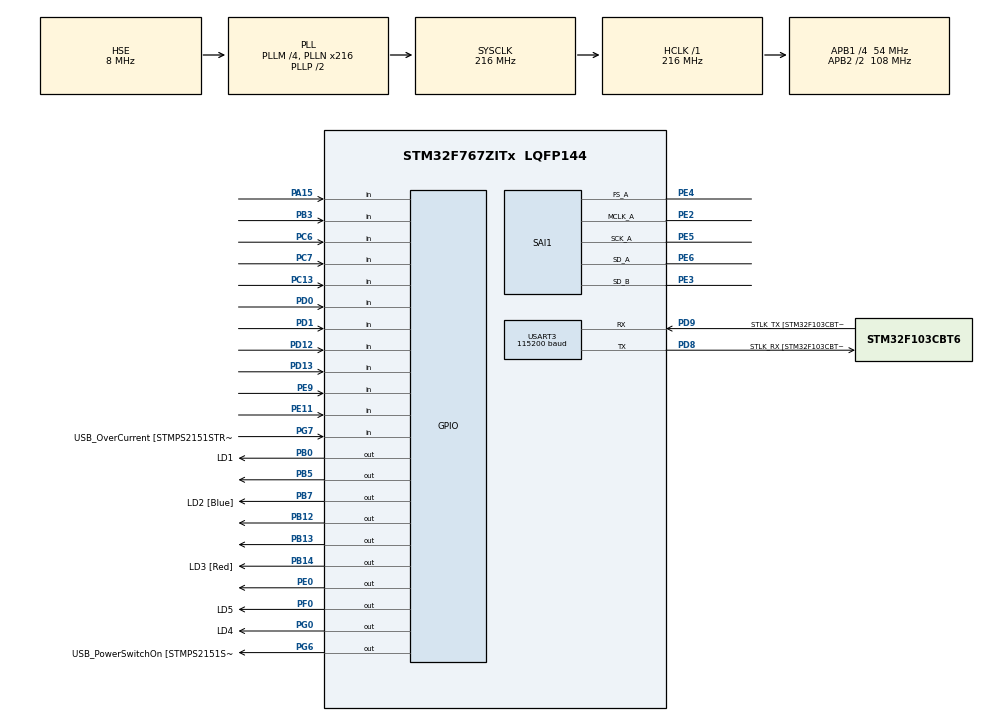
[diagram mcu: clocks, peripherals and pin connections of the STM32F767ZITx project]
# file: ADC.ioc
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Dma.Request0=SAI1_A
Dma.Request1=SAI1_B
Dma.SAI1_A.0.Direction=DMA_PERIPH_TO_MEMORY
Dma.SAI1_A.0.FIFOMode=DMA_FIFOMODE_DISABLE
Dma.SAI1_A.0.Instance=DMA2_Stream1
Dma.SAI1_A.0.MemDataAlignment=DMA_MDATAALIGN_WORD
Dma.SAI1_A.0.MemInc=DMA_MINC_ENABLE
Dma.SAI1_A.0.Mode=DMA_CIRCULAR
Dma.SAI1_A.0.PeriphDataAlignment=DMA_PDATAALIGN_WORD
Dma.SAI1_A.0.PeriphInc=DMA_PINC_DISABLE
Dma.SAI1_A.0.Priority=DMA_PRIORITY_VERY_HIGH
Dma.SAI1_B.1.Direction=DMA_MEMORY_TO_PERIPH
Dma.SAI1_B.1.FIFOMode=DMA_FIFOMODE_DISABLE
Dma.SAI1_B.1.Instance=DMA2_Stream0
Dma.SAI1_B.1.MemDataAlignment=DMA_MDATAALIGN_WORD
Dma.SAI1_B.1.MemInc=DMA_MINC_ENABLE
Dma.SAI1_B.1.Mode=DMA_CIRCULAR
Dma.SAI1_B.1.PeriphDataAlignment=DMA_PDATAALIGN_WORD
Dma.SAI1_B.1.PeriphInc=DMA_PINC_DISABLE
Dma.SAI1_B.1.Priority=DMA_PRIORITY_VERY_HIGH
Mcu.Family=STM32F7
Mcu.Name=STM32F767ZITx
Mcu.Package=LQFP144
NVIC.DMA2_Stream0_IRQn=true\:0\:0\:false\:false\:true\:false\:true\:true
NVIC.DMA2_Stream1_IRQn=true\:0\:0\:false\:false\:true\:false\:true\:true
NVIC.PriorityGroup=NVIC_PRIORITYGROUP_4
NVIC.RCC_IRQn=true\:0\:0\:false\:false\:true\:true\:false\:true
NVIC.TIM6_DAC_IRQn=true\:1\:0\:true\:false\:true\:true\:true\:true
NVIC.USART3_IRQn=true\:0\:0\:false\:false\:true\:true\:true\:true
PA11.GPIO_Label=USB_DM
PA11.Signal=USB_OTG_FS_DM
PA12.GPIO_Label=USB_DP
PA12.Signal=USB_OTG_FS_DP
PA13.GPIO_Label=TMS
PA13.Mode=Serial_Wire
PA13.Signal=SYS_JTMS-SWDIO
PA14.GPIO_Label=TCK
PA14.Mode=Serial_Wire
PA14.Signal=SYS_JTCK-SWCLK
PA15.GPIO_PuPd=GPIO_PULLUP
PA15.Signal=GPIO_Input
PA8.GPIO_Label=USB_SOF [TP1]
PA8.Signal=USB_OTG_FS_SOF
PA9.GPIO_Label=USB_VBUS
PA9.Signal=USB_OTG_FS_VBUS
PB0.GPIO_Label=LD1
PB0.Signal=GPIO_Output
PB12.Signal=GPIO_Output
PB13.Signal=GPIO_Output
PB14.GPIO_Label=LD3 [Red]
PB14.Signal=GPIO_Output
PB3.GPIO_PuPd=GPIO_NOPULL
PB3.Signal=GPIO_Input
PB5.Signal=GPIO_Output
PB7.GPIO_FM7=SYSCFG_PMC_I2C_PB7_FMP
PB7.GPIO_Label=LD2 [Blue]
PB7.Signal=GPIO_Output
PC13.Signal=GPIO_Input
PC14/OSC32_IN.Mode=LSE-External-Oscillator
PC14/OSC32_IN.Signal=RCC_OSC32_IN
PC15/OSC32_OUT.Mode=LSE-External-Oscillator
PC15/OSC32_OUT.Signal=RCC_OSC32_OUT
PC6.GPIO_PuPd=GPIO_PULLUP
PC6.Signal=GPIO_Input
PC7.GPIO_PuPd=GPIO_NOPULL
PC7.Signal=GPIO_Input
PD0.Signal=GPIO_Input
PD1.Signal=GPIO_Input
PD12.GPIO_PuPd=GPIO_PULLUP
PD12.Signal=GPIO_Input
PD13.GPIO_PuPd=GPIO_PULLUP
PD13.Signal=GPIO_Input
PD8.GPIO_Label=STLK_RX [STM32F103CBT6_PA3]
PD8.Mode=Asynchronous
PD8.Signal=USART3_TX
PD9.GPIO_Label=STLK_TX [STM32F103CBT6_PA2]
PD9.Mode=Asynchronous
PD9.Signal=USART3_RX
PE0.Signal=GPIO_Output
PE11.GPIO_PuPd=GPIO_PULLUP
PE11.Signal=GPIO_Input
PE2.Mode=SAI_A_MasterWithClock
PE2.Signal=SAI1_MCLK_A
PE3.Mode=SAI_B_SyncSlave
PE3.Signal=SAI1_SD_B
PE4.Mode=SAI_A_MasterWithClock
PE4.Signal=SAI1_FS_A
PE5.Mode=SAI_A_MasterWithClock
PE5.Signal=SAI1_SCK_A
PE6.Mode=SAI_A_MasterWithClock
PE6.Signal=SAI1_SD_A
PE9.GPIO_PuPd=GPIO_PULLUP
PE9.Signal=GPIO_Input
PF0.GPIO_Label=LD5
PF0.Signal=GPIO_Output
PG0.GPIO_Label=LD4
PG0.Signal=GPIO_Output
PG6.GPIO_Label=USB_PowerSwitchOn [STMPS2151STR_EN]
PG6.Signal=GPIO_Output
PG7.GPIO_Label=USB_OverCurrent [STMPS2151STR_FAULT]
PG7.Signal=GPIO_Input
PH0/OSC_IN.GPIO_Label=MCO [STM32F103CBT6_PA8]
PH0/OSC_IN.Mode=HSE-External-Clock-Source
PH0/OSC_IN.Signal=RCC_OSC_IN
PH1/OSC_OUT.Mode=HSE-External-Clock-Source
PH1/OSC_OUT.Signal=RCC_OSC_OUT
ProjectManager.HeapSize=0x200
ProjectManager.StackSize=0x400
ProjectManager.TargetToolchain=STM32CubeIDE
RCC.48MHZClocksFreq_Value=24000000
RCC.AHBFreq_Value=216000000
RCC.APB1CLKDivider=RCC_HCLK_DIV4
RCC.APB1Freq_Value=54000000
RCC.APB1TimFreq_Value=108000000
RCC.APB2CLKDivider=RCC_HCLK_DIV2
RCC.APB2Freq_Value=108000000
RCC.APB2TimFreq_Value=216000000
RCC.CortexFreq_Value=216000000
RCC.HCLKFreq_Value=216000000
RCC.HSE_VALUE=8000000
RCC.HSI_VALUE=16000000
RCC.PLLI2SN=96
RCC.PLLM=4
RCC.PLLMUL=RCC_PLL_MUL9
RCC.PLLN=216
RCC.PLLQ=9
RCC.PLLSAIQ=6
RCC.PLLSourceVirtual=RCC_PLLSOURCE_HSE
RCC.PRESCALERUSB=RCC_USBCLKSOURCE_PLL_DIV1_5
RCC.SAI1CLockSelection=RCC_SAI1CLKSOURCE_PLLI2S
RCC.SYSCLKFreq_VALUE=216000000
RCC.SYSCLKSource=RCC_SYSCLKSOURCE_PLLCLK
RCC.SYSCLKSourceVirtual=RCC_SYSCLKSOURCE_PLLCLK
RCC.USBFreq_Value=48000000
RCC.VCOOutputFreq_Value=432000000
SAI1.AudioFrequency-SAI_A_MasterWithClock=SAI_AUDIO_FREQUENCY_48K
SAI1.AudioMode-SAI_A_MasterWithClock=SAI_MODEMASTER_RX
SAI1.AudioMode-SAI_B_SyncSlave=SAI_MODESLAVE_TX
SAI1.BasicDataSize-SAI_A_MasterWithClock=SAI_PROTOCOL_DATASIZE_24BIT
SAI1.BasicDataSize-SAI_B_SyncSlave=SAI_PROTOCOL_DATASIZE_24BIT
SAI1.ErrorAudioFreq-SAI_A_MasterWithClock=-2.34 %
SAI1.InitProtocol-SAI_A_MasterWithClock=Enable
SAI1.InitProtocol-SAI_B_SyncSlave=Enable
SAI1.Instance-SAI_A_MasterWithClock=SAI$Index_Block_A
SAI1.Instance-SAI_B_SyncSlave=SAI$Index_Block_B
SAI1.MClockEnable-SAI_A_MasterWithClock=SAI_MASTERCLOCK_ENABLE
SAI1.RealAudioFreq-SAI_A_MasterWithClock=46.875 KHz
SAI1.VirtualMode-SAI_A_MasterWithClock=VM_MASTER
SAI1.VirtualMode-SAI_B_SyncSlave=VM_SLAVE
SAI1.VirtualProtocol-SAI_A_BASIC=VM_BASIC_PROTOCOL
SAI1.VirtualProtocol-SAI_B_BASIC=VM_BASIC_PROTOCOL
TIM6.Period=10-1
TIM6.Prescaler=10800 - 1
TIM8.Period=45-1
TIM8.Prescaler=100-1
TIM8.TIM_MasterOutputTrigger=TIM_TRGO_UPDATE
USART3.BaudRate=115200
USART3.VirtualMode-Asynchronous=VM_ASYNC
VP_SAI1_VP_$IpInstance_SAIA_SAI_BASIC.Mode=SAI_A_BASIC
VP_SAI1_VP_$IpInstance_SAIB_SAI_BASIC.Mode=SAI_B_BASIC
VP_TIM6_VS_ClockSourceINT.Mode=Enable_Timer
VP_TIM8_VS_ClockSourceINT.Mode=Internal
board=NUCLEO-F767ZI

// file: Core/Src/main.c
/* USER CODE BEGIN Header */
/**
  ******************************************************************************
  * @file           : main.c
  * @brief          : Main program body
  ******************************************************************************
  * @attention
  *
  * Copyright (c) 2024 STMicroelectronics.
  * All rights reserved.
  *
  * This software is licensed under terms that can be found in the LICENSE file
  * in the root directory of this software component.
  * If no LICENSE file comes with this software, it is provided AS-IS.
  *
  ******************************************************************************
  */
/* USER CODE END Header */
#include "main.h"

/* USER CODE BEGIN Includes */
#include "stm32f767xx.h"
#include "stm32f7xx.h"
#include "stm32f7xx_hal_def.h"
#include <stdio.h>
#include <math.h>
#include <stdbool.h>
/* USER CODE END Includes */

/* USER CODE BEGIN PTD */
typedef struct {
 	uint32_t cnt_value;
 	uint32_t cnt_max;
 	uint32_t cnt_min;
 	uint32_t cnt_mid;
 	uint32_t cnt_store;
 	uint8_t state;
 	uint8_t prev_state;
 } EncoderConfig;

/* USER CODE END PTD */

/* USER CODE BEGIN PD */
#define PI 3.14159
#define NUM_ENCODERS 4
#define NUM_FILTERS 4
#define BUFFER_SIZE 4
#define FREQ_SAMPLE 46875

/* USER CODE END PD */

SAI_HandleTypeDef hsai_BlockA1;
SAI_HandleTypeDef hsai_BlockB1;
DMA_HandleTypeDef hdma_sai1_a;
DMA_HandleTypeDef hdma_sai1_b;

TIM_HandleTypeDef htim6;
TIM_HandleTypeDef htim8;

UART_HandleTypeDef huart3;

/* USER CODE BEGIN PV */

 int i = 0;
 char message[16] = {'\0'};
 int temp = 0;
 int selected_filter = 0;

 static int last_state_filter = 1;
 static int last_state_toggle = 1;
 static volatile int filter_count = 0;       // Tracks selected filter (1 to 4)
 static bool filter_toggles[NUM_FILTERS] = {0,0,0,0};

 EncoderConfig encoders[NUM_ENCODERS] = {
 		{ 0, 10000, 0, 5000, 7},
 		{ 0, 10000, 0, 5000, 7},
 		{ 0, 10000, 0, 5000, 7},
 		{ 0, 10000, 0, 5000, 7}
 };

//buffers for adc input and output
//static int y[3] = {0, 0, 0};

uint32_t adcData[BUFFER_SIZE] = {0};
uint32_t dacData[BUFFER_SIZE] = {0};

static volatile uint32_t *inBufPtr;
static volatile uint32_t *outBufPtr = &dacData[0];

static uint32_t leftIn0, rightIn0 = 0;

static int16_t lSample = 0;
static int16_t rSample = 0;

float Fs = 46875.0;

float volatile filter_f0[NUM_FILTERS] = {2000, 1000, 14000, 60};  // LPF, Notch, Peak, HPF
float volatile filter_Q[NUM_FILTERS]  = {0.5, 5, 5, 0.5};  // Q values for all

/*
// High Cut / Low Pass Filter Settings
int16_t LPF_f0 = 20000;                         // Center / Corner Frequency
float LPF_Q = 1;                          	// Quality Factor

// Low Cut / High Pass Filter Settings
int16_t HPF_f0 = 20;                            // Center / Corner Frequency
float HPF_Q = 1;                         		// Quality Factor

// Notch Filter Settings
int16_t NCH1_f0 = 14000;                          // Center / Corner Frequency
float NCH1_Q = 10;                        		// Quality Factor

// Peaking Filter
int16_t PKG_f0 = 60;                           // Center / Corner Frequency
float PKG_Q = 10;                         		// Quality Factor
float PKG_GAIN = 1;								// Attenuation
*/

float wet = 0.0;
float delay = 1.0;

static int16_t x[3] = {0, 0, 0};
static int16_t  outputBuf[3] = {0, 0, 0};

//buffers for filters
static int16_t h1[3] = {0, 0, 0};
static int16_t h2[3] = {0, 0, 0};
static int16_t h3[3] = {0, 0, 0};
static int16_t z[3] = {0, 0, 0};

// Delay Indices for Comb Filters
static int16_t C_index_1 = 1;
static int16_t C_index_2 = 1;
static int16_t C_index_3 = 1;
static int16_t C_index_4 = 1;

// Delay Indices for All-pass Filters
static int16_t A_index_1 = 1;
static int16_t A_index_2 = 1;
static int16_t A_index_3 = 1;

// Reverb Parameters

float Cgain_1 = 0.805, Cgain_2 = 0.827, Cgain_3 = 0.783, Cgain_4 = 0.764; // Reverb gains

int16_t Csum = 0, Aout_1 = 0, Aout_2 = 0, Aout_3 = 0;  // Intermediate reverb variables
int16_t Cout_1 = 0, Cout_2 = 0, Cout_3 = 0, Cout_4 = 0;

int16_t Clim_1 = 0, Clim_2 = 0, Clim_3 = 0, Clim_4 = 0;
int16_t Alim_1 = 0, Alim_2 = 0, Alim_3 = 0;

int16_t Adelay_1 = 220;
float Again_1 = 0.7;
int16_t Adelay_2 = 74;
float Again_2 = 0.7;
int16_t Adelay_3 = 21;
float Again_3 = 0.7;
int16_t Cdelay_1 = 1590;
int16_t  Cdelay_2 = 1372;
int16_t  Cdelay_3 = 1782;
int16_t Cdelay_4 = 1980;

int Cgain_sum = 0.25;

// Comb Filter Buffers
static int16_t Cbuff_1[1590] = {0};
static int16_t Cbuff_2[1372] = {0};
static int16_t Cbuff_3[1782] = {0};
static int16_t Cbuff_4[1980] = {0};

// All-pass Filter Buffers
static int16_t Abuff_1[220] = {0};
static int16_t Abuff_2[74] = {0};
static int16_t Abuff_3[21] = {0};

static float PKG_dB_gain = 1.0;                       // Gain in dB

// LPF Variables
float LPF_w0 = 0, LPF_cos_w0 = 0, LPF_sin_w0 = 0, LPF_alpha = 0;
float LPF_b0 = 0, LPF_b1 = 0, LPF_b2 = 0, LPF_a0 = 0, LPF_a1 = 0, LPF_a2 = 0;
float LPF_norm_b0 = 0, LPF_norm_b1 = 0, LPF_norm_b2 = 0, LPF_norm_a1 = 0, LPF_norm_a2 = 0;

// HPF Variables
float HPF_w0 = 0, HPF_cos_w0 = 0, HPF_sin_w0 = 0, HPF_alpha = 0;
float HPF_b0 = 0, HPF_b1 = 0, HPF_b2 = 0, HPF_a0 = 0, HPF_a1 = 0, HPF_a2 = 0;
float HPF_norm_b0 = 0, HPF_norm_b1 = 0, HPF_norm_b2 = 0, HPF_norm_a1 = 0, HPF_norm_a2 = 0;

// Notch Variables
float NCH1_w0 = 0, NCH1_cos_w0 = 0, NCH1_sin_w0 = 0, NCH1_alpha = 0;
float NCH1_b0 = 0, NCH1_b1 = 0, NCH1_b2 = 0, NCH1_a0 = 0, NCH1_a1 = 0, NCH1_a2 = 0;
float NCH1_norm_b0 = 0, NCH1_norm_b1 = 0, NCH1_norm_b2 = 0, NCH1_norm_a1 = 0, NCH1_norm_a2 = 0;

// Peaking EQ Variables
float PKG_w0 = 0, PKG_A = 0, PKG_cos_w0 = 0, PKG_sin_w0 = 0, PKG_alpha = 0;
float PKG_b0 = 0, PKG_b1 = 0, PKG_b2 = 0, PKG_a0 = 0, PKG_a1 = 0, PKG_a2 = 0;
float PKG_norm_b0 = 0, PKG_norm_b1 = 0, PKG_norm_b2 = 0, PKG_norm_a1 = 0, PKG_norm_a2 = 0;

void LPF() {
		//HAL_GPIO_WritePin(GPIOB, LD1_Pin, GPIO_PIN_SET);
		//HAL_GPIO_WritePin(GPIOG, LD4_Pin, GPIO_PIN_SET);
	 	//LPF_w0 = 2 * PI * (LPF_f0 / Fs);    	// Cutoff Freq in radians
	    LPF_w0 = 2 * PI * (filter_f0[0] / Fs);    	// Cutoff Freq in radians
	    LPF_cos_w0 = cos(LPF_w0);           	// cosine omega
	    LPF_sin_w0 = sin(LPF_w0);           	// sine omega
	    LPF_alpha = LPF_sin_w0 / (2 * filter_Q[0]);
	   // LPF_alpha = LPF_sin_w0 / (2 * LPF_Q);

	    LPF_b0 = (1 - LPF_cos_w0) / 2;
	    LPF_b1 = (1 - LPF_cos_w0);
	    LPF_b2 = (1 - LPF_cos_w0) / 2;
	    LPF_a0 = 1 + LPF_alpha;
	    LPF_a1 = -2 * LPF_cos_w0;
	    LPF_a2 = 1 - LPF_alpha;

	    LPF_norm_b0 = LPF_b0 / LPF_a0;
	    LPF_norm_b1 = LPF_b1 / LPF_a0;
	    LPF_norm_b2 = LPF_b2 / LPF_a0;
	    LPF_norm_a1 = LPF_a1 / LPF_a0;
	    LPF_norm_a2 = LPF_a2 / LPF_a0;
	   // HAL_GPIO_WritePin(GPIOG, LD4_Pin, GPIO_PIN_RESET);
	   // HAL_GPIO_WritePin(GPIOB, LD1_Pin, GPIO_PIN_RESET);
}

void Notch() {
		//HAL_GPIO_WritePin(GPIOB, LD1_Pin, GPIO_PIN_SET);
	 	//NCH1_w0 = 2 * PI * (NCH1_f0 / Fs);
	    NCH1_w0 = 2 * PI * (filter_f0[1] / Fs);      // Center Freq in radians
	    NCH1_cos_w0 = cos(NCH1_w0);             // cosine omega
	    NCH1_sin_w0 = sin(NCH1_w0);             // sine omega
	    NCH1_alpha = NCH1_sin_w0 / (2 * filter_Q[1]);
	    //NCH1_alpha = NCH1_sin_w0 / (2 * NCH1_Q);

	    NCH1_b0 = 1;
	    NCH1_b1 = -2 * NCH1_cos_w0;
	    NCH1_b2 = 1;
	    NCH1_a0 = 1 + NCH1_alpha;
	    NCH1_a1 = -2 * NCH1_cos_w0;
	    NCH1_a2 = 1 - NCH1_alpha;

	    NCH1_norm_b0 = NCH1_b0 / NCH1_a0;
	    NCH1_norm_b1 = NCH1_b1 / NCH1_a0;
	    NCH1_norm_b2 = NCH1_b2 / NCH1_a0;
	    NCH1_norm_a1 = NCH1_a1 / NCH1_a0;
	    NCH1_norm_a2 = NCH1_a2 / NCH1_a0;
	   // HAL_GPIO_WritePin(GPIOB, LD1_Pin, GPIO_PIN_RESET);
}

void PEAK() {
	//	HAL_GPIO_WritePin(GPIOA, GPIO_PIN_15, GPIO_PIN_SET);
	 	//PKG_w0 = 2 * PI * (PKG_f0 / Fs);
	    PKG_w0 = 2 * PI * (filter_f0[2] / Fs);    	// Center Freq in radians
	    PKG_A = PKG_dB_gain;      	// Linear Gain from dB
	    PKG_cos_w0 = cos(PKG_w0);      			// cosine omega
	    PKG_sin_w0 = sin(PKG_w0);      			// sine omega
	    PKG_alpha = PKG_sin_w0 / (2 * filter_Q[2]);
	    //PKG_alpha = PKG_sin_w0 / (2 * PKG_Q);

	    PKG_b0 = 1 + PKG_alpha * PKG_A;
	    PKG_b1 = -2 * PKG_cos_w0;
	    PKG_b2 = 1 - PKG_alpha * PKG_A;
	    PKG_a0 = 1 + ( PKG_alpha / PKG_A );
	    PKG_a1 = -2 * PKG_cos_w0;
	    PKG_a2 = 1 - ( PKG_alpha / PKG_A );

	    PKG_norm_b0 = PKG_b0 / PKG_a0;
	    PKG_norm_b1 = PKG_b1 / PKG_a0;
	    PKG_norm_b2 = PKG_b2 / PKG_a0;
	    PKG_norm_a1 = PKG_a1 / PKG_a0;
	    PKG_norm_a2 = PKG_a2 / PKG_a0;
	   // HAL_GPIO_WritePin(GPIOA, GPIO_PIN_15, GPIO_PIN_RESET);
}

void HPF() {
		//HAL_GPIO_WritePin(LD5_GPIO_Port, LD5_Pin, GPIO_PIN_SET);
	 	//HPF_w0 = 2 * PI * (HPF_f0 / Fs);
	    HPF_w0 = 2 * PI * (filter_f0[3] / Fs);        // Cutoff Freq in radians
	    HPF_cos_w0 = cos(HPF_w0);               // cosine omega
	    HPF_sin_w0 = sin(HPF_w0);               // sine omega
	    HPF_alpha = HPF_sin_w0 / (2 * filter_Q[3]);
	    //HPF_alpha = HPF_sin_w0 / (2 * HPF_Q);

	    HPF_b0 = (1 + HPF_cos_w0) / 2;
	    HPF_b1 = -(1 + HPF_cos_w0);
	    HPF_b2 = (1 + HPF_cos_w0) / 2;
	    HPF_a0 = 1 + HPF_alpha;
	    HPF_a1 = -2 * HPF_cos_w0;
	    HPF_a2 = 1 - HPF_alpha;

	    HPF_norm_b0 = HPF_b0 / HPF_a0;
	    HPF_norm_b1 = HPF_b1 / HPF_a0;
	    HPF_norm_b2 = HPF_b2 / HPF_a0;
	    HPF_norm_a1 = HPF_a1 / HPF_a0;
	    HPF_norm_a2 = HPF_a2 / HPF_a0;
	  //  HAL_GPIO_WritePin(LD5_GPIO_Port, LD5_Pin, GPIO_PIN_RESET);
}

void Delay() {

    Clim_1 = (Cdelay_1 * delay);
    Clim_2 = (Cdelay_2 * delay);
    Clim_3 = (Cdelay_3 * delay);
    Clim_4 = (Cdelay_4 * delay);

    // Calculate Alim values
    Alim_1 = (Adelay_1 * delay);
    Alim_2 = (Adelay_2 * delay);
    Alim_3 = (Adelay_3 * delay);

    // Delay Calculated: Delay / Sample Time = Sample Buffer Length

}

void buttonDebouncer()
{
	 	 int button_press = HAL_GPIO_ReadPin(GPIOD, GPIO_PIN_0);  // Filter select button
	 	 int toggle_press = HAL_GPIO_ReadPin(GPIOD, GPIO_PIN_1);   // Filter ON/OFF toggle button
	    // Filter select button: Cycle through filters
	    if (button_press == 0 && last_state_filter == 1) {
	    	wet = 0;
	    	if(filter_count < 3){
	    		filter_count = filter_count + 1;  // Cycle through filters

	    	}
	    	else{
	    		filter_count = 0;
	    	}
	    	selected_filter = filter_count;

	    }
	    last_state_filter = button_press;

	    // Toggle button: Toggle the corresponding filter ON/OFF
	    if (toggle_press == 0 && last_state_toggle == 1) {
	    	wet = 0;
	        filter_toggles[selected_filter] = !filter_toggles[selected_filter];  // Toggle the current filter's state
	    }
	    last_state_toggle = toggle_press;

}

void readEncoders() {
	//HAL_GPIO_WritePin(GPIOB, LD1_Pin, GPIO_PIN_SET);

    for (uint8_t i = 0; i < NUM_ENCODERS; i++) {
    	temp = filter_count;

        // Read encoder states
    	//encoders[0].state = (HAL_GPIO_ReadPin(GPIOE, GPIO_PIN_11) << 1) | HAL_GPIO_ReadPin(GPIOE, GPIO_PIN_9);
        encoders[0].state = (HAL_GPIO_ReadPin(GPIOE, GPIO_PIN_11) << 1) | HAL_GPIO_ReadPin(GPIOE, GPIO_PIN_9);
        encoders[1].state = (HAL_GPIO_ReadPin(GPIOA, GPIO_PIN_15) << 1) | HAL_GPIO_ReadPin(GPIOC, GPIO_PIN_6);
        encoders[2].state = (HAL_GPIO_ReadPin(GPIOB, GPIO_PIN_3) << 1) | HAL_GPIO_ReadPin(GPIOC, GPIO_PIN_7);
        encoders[3].state = (HAL_GPIO_ReadPin(GPIOD, GPIO_PIN_12) << 1) | HAL_GPIO_ReadPin(GPIOD, GPIO_PIN_13);

        if ((encoders[i].prev_state == 0b00 && encoders[i].state == 0b10) ||
            (encoders[i].prev_state == 0b10 && encoders[i].state == 0b11) ||
            (encoders[i].prev_state == 0b11 && encoders[i].state == 0b01) ||
            (encoders[i].prev_state == 0b01 && encoders[i].state == 0b00)) {

            if (encoders[i].cnt_value < encoders[i].cnt_max) {
                encoders[i].cnt_value++;
            } else {
                encoders[i].cnt_value = encoders[i].cnt_mid;
            }

            // **Encoder 1 (Change Frequency of Selected Filter)**
            if (i == 0) {
                filter_f0[temp] *= 0.99f;  // Decrease by 1%
                if(filter_f0[temp] <= 20.0f){
                	filter_f0[temp] = 21.0f;
                }
                sprintf(message, "F: %d\r\n", (int)filter_f0[temp]);
                HAL_UART_Transmit_IT(&huart3, (uint8_t *)message, strlen(message));
            }

            // **Encoder 2 (Change Q Factor of Selected Filter)**
            if (i == 1) {
                filter_Q[temp] -= 0.01f; // Decrease Q
                if (filter_Q[0] <= 0.5f){
                    filter_Q[0] = 0.51f; // Limit min Q factor
                }
                if (filter_Q[1] <= 2.0f){
                    filter_Q[1] = 2.01f; // Limit min Q factor
                }
                if (filter_Q[2] <= 0.5f){
                    filter_Q[2] = 0.51f; // Limit min Q factor
                }
                if (filter_Q[3] <= 0.5f){
                    filter_Q[3] = 0.51f; // Limit min Q factor
                }
                sprintf(message, "Q: %d.%02d\r\n", (int)filter_Q[temp], (int)(filter_Q[temp] * 100) % 100);
                HAL_UART_Transmit_IT(&huart3, (uint8_t *)message, strlen(message));
            }

            // **Encoder 3 (Decrease Gain)**
            if (i == 2) {
            	PKG_dB_gain -= 0.005f; // Decrease gain in dB
            	if (PKG_dB_gain <= 0.01f)  // Limit min gain to -20 dB
            		PKG_dB_gain = 0.02f;
            	sprintf(message, "dB: %d.%02d\r\n", (int)PKG_dB_gain, (int)(PKG_dB_gain * 100) % 100);
            	HAL_UART_Transmit_IT(&huart3, (uint8_t *)message, strlen(message));
            }

            // **Encoder 4 (Decrease Wet Mix)**
            if (i == 3) {
            	wet -= 0.01f; // Decrease wet mix
            	if (wet <= 0.01f)  // Limit min wet mix to 0 (dry)
            		wet = 0.0f;
            	sprintf(message, "W: %d.%02d\r\n", (int)wet, (int)(wet * 100) % 100);
            	HAL_UART_Transmit_IT(&huart3, (uint8_t *)message, strlen(message));
            }

        }

        else if ((encoders[i].prev_state == 0b00 && encoders[i].state == 0b01) ||
                 (encoders[i].prev_state == 0b01 && encoders[i].state == 0b11) ||
                 (encoders[i].prev_state == 0b11 && encoders[i].state == 0b10) ||
                 (encoders[i].prev_state == 0b10 && encoders[i].state == 0b00)) {

            if (encoders[i].cnt_value > encoders[i].cnt_min) {
                encoders[i].cnt_value--;
            } else {
                encoders[i].cnt_value = encoders[i].cnt_mid;
            }

            // **Encoder 1 (Change Frequency of Selected Filter)**
                        if (i == 0) {
                            filter_f0[temp] *= 1.01f;  // Increase by 1%
                            if (filter_f0[temp] >= 20000.0f){
                                filter_f0[temp] = 19999.0f; // Limit max Q factor
                            }
                            sprintf(message, "F: %d\r\n", (int)filter_f0[temp]);
                            HAL_UART_Transmit_IT(&huart3, (uint8_t *)message, strlen(message));
                        }

                        // **Encoder 2 (Change Q Factor of Selected Filter)**

                        if (i == 1) {
                            filter_Q[temp] += 0.01f; // Increase Q
                            if (filter_Q[0] >= 1.41f){
                                filter_Q[0] = 1.40f; // Limit max Q factor
                            }
                            if(filter_Q[1] >= 10.0f){
                            	filter_Q[1] = 9.9f;
                            }
                            if(filter_Q[2] >= 20.0f){
                               filter_Q[2] = 19.9f;
                            }
                            if(filter_Q[3] >= 1.41f){
                               filter_Q[3] = 1.40f;
                            }
                            sprintf(message, "Q: %d.%02d\r\n", (int)filter_Q[temp], (int)(filter_Q[temp] * 100) % 100);
                            HAL_UART_Transmit_IT(&huart3, (uint8_t *)message, strlen(message));
                       }

                        // **Encoder 3 (Increase Gain)**
                        if (i == 2) {
                        	PKG_dB_gain += 0.005f; // Increase gain in dB
                        	if (PKG_dB_gain >= 1.0f)  // Limit max gain to 12 dB
                        		PKG_dB_gain = 0.99f;
                        	sprintf(message, "dB: %d.%02d\r\n", (int)PKG_dB_gain, (int)(PKG_dB_gain * 100) % 100);
                        	HAL_UART_Transmit_IT(&huart3, (uint8_t *)message, strlen(message));
                        }

                        // **Encoder 4 (Increase Wet Mix)**

                        if (i == 3) {
                        	wet += 0.01f; // Increase wet mix
                        	if (wet >= 0.99f)  // Limit max wet mix to 1.0 (100%)
                        		wet = 1.0f;
                        	sprintf(message, "W: %d.%02d\r\n", (int)wet, (int)(wet * 100) % 100);
                        	HAL_UART_Transmit_IT(&huart3, (uint8_t *)message, strlen(message));
                        }

        }

        encoders[i].prev_state = encoders[i].state;
    }
    //HAL_GPIO_WritePin(GPIOB, LD1_Pin, GPIO_PIN_RESET);
}

void FilterToggle()
{

    // Low-Pass Filter (PB0)
    if (filter_toggles[0]) {
    	HAL_GPIO_WritePin(GPIOB, GPIO_PIN_13, GPIO_PIN_SET);

        h1[2] = h1[1];
        h1[1] = h1[0];
        h1[0] = LPF_norm_b0 * x[0] + LPF_norm_b1 * x[1] + LPF_norm_b2 * x[2] - LPF_norm_a1 * h1[1] - LPF_norm_a2 * h1[2];

    }
    else {
    	HAL_GPIO_WritePin(GPIOB, GPIO_PIN_13, GPIO_PIN_RESET);

        h1[2] = h1[1];
        h1[1] = h1[0];
        h1[0] = x[0];

    }

    // Notch Filter (PB7)
    if (filter_toggles[1]) {
    	HAL_GPIO_WritePin(GPIOB, GPIO_PIN_12, GPIO_PIN_SET);

        h2[2] = h2[1];
        h2[1] = h2[0];
        h2[0] = NCH1_norm_b0 * h1[0] + NCH1_norm_b1 * h1[1] + NCH1_norm_b2 * h1[2] - NCH1_norm_a1 * h2[1] - NCH1_norm_a2 * h2[2];

    }
    else {
    	HAL_GPIO_WritePin(GPIOB, GPIO_PIN_12, GPIO_PIN_RESET);

        h2[2] = h2[1];
        h2[1] = h2[0];
        h2[0] = h1[0];

    }

    // Peak Filter (PG0)
    if (filter_toggles[2]) {
    	 HAL_GPIO_WritePin(GPIOB, GPIO_PIN_5, GPIO_PIN_SET);

        h3[2] = h3[1];
        h3[1] = h3[0];
        h3[0] = PKG_norm_b0 * h2[0] + PKG_norm_b1 * h2[1] + PKG_norm_b2 * h2[2] - PKG_norm_a1 * h3[1] - PKG_norm_a2 * h3[2];

    }
    else {
    	HAL_GPIO_WritePin(GPIOB, GPIO_PIN_5, GPIO_PIN_RESET);

        h3[2] = h3[1];
        h3[1] = h3[0];
        h3[0] =  h2[0];

    }

    // High-Pass Filter (PF0)
    if (filter_toggles[3]) {
    	HAL_GPIO_WritePin(GPIOE, GPIO_PIN_0, GPIO_PIN_SET);

        z[2] = z[1];
        z[1] = z[0];
        z[0] = HPF_norm_b0 * h3[0] + HPF_norm_b1 * h3[1] + HPF_norm_b2 * h3[2] - HPF_norm_a1 * z[1] - HPF_norm_a2 * z[2];
    }
    else {
    	HAL_GPIO_WritePin(GPIOE, GPIO_PIN_0, GPIO_PIN_RESET);

        z[2] = z[1];
        z[1] = z[0];
        z[0] = h3[0];

    }
}

void ProcessFilters()
{
		        h1[2] = h1[1];
		       	h1[1] = h1[0];
		        h1[0] = LPF_norm_b0 * x[0] + LPF_norm_b1 * x[1] + LPF_norm_b2 * x[2] - LPF_norm_a1 * h1[1] - LPF_norm_a2 * h1[2];

		        h2[2] = h2[1];
		        h2[1] = h2[0];
		        h2[0] = NCH1_norm_b0 * h1[0] + NCH1_norm_b1 * h1[1] + NCH1_norm_b2 * h1[2] - NCH1_norm_a1 * h2[1] - NCH1_norm_a2 * h2[2];

		        h3[2] = h3[1];
		        h3[1] = h3[0];
		        h3[0] = PKG_norm_b0 * h2[0] + PKG_norm_b1 * h2[1] + PKG_norm_b2 * h2[2] - PKG_norm_a1 * h3[1] - PKG_norm_a2 * h3[2];

		        z[2] = z[1];
		        z[1] = z[0];
		       	z[0] = HPF_norm_b0 * h3[0] + HPF_norm_b1 * h3[1] + HPF_norm_b2 * h3[2] - HPF_norm_a1 * z[1] - HPF_norm_a2 * z[2];

}

void reverb()
{
    // --- Reverb Processing ---
   	      // Process the comb filters (using separate indices and buffers)
   	     // Comb Filter 1:
   	     Cout_1 = Cbuff_1[C_index_1];
   	     Cbuff_1[C_index_1] = x[0] + Cout_1 * Cgain_1;
   	     C_index_1++;
   	     if (C_index_1 >= Cdelay_1) { C_index_1 = 0; }

   	     // Comb Filter 2:
   	     Cout_2 = Cbuff_2[C_index_2];
   	     Cbuff_2[C_index_2] = x[0] + Cout_2 * Cgain_2;
   	     C_index_2++;
   	     if (C_index_2 >= Cdelay_2) { C_index_2 = 0; }

   	     // Comb Filter 3:
   	     Cout_3 = Cbuff_3[C_index_3];
   	     Cbuff_3[C_index_3] = x[0] + Cout_3 * Cgain_3;
   	     C_index_3++;
   	     if (C_index_3 >= Cdelay_3) { C_index_3 = 0; }

   	     // Comb Filter 4:
   	     Cout_4 = Cbuff_4[C_index_4];
   	     Cbuff_4[C_index_4] = x[0] + Cout_4 * Cgain_4;
   	     C_index_4++;
   	     if (C_index_4 >= Cdelay_4) { C_index_4 = 0; }

   	     // Combine the outputs of the comb filters:
   	     Csum = (Cout_1 + Cout_2 + Cout_3 + Cout_4) * 0.25f;

   	      // Process the all-pass filters:
   	      // All-pass Filter 1:
   	      Aout_1 = Abuff_1[A_index_1] - Csum * Again_1;
   	      Abuff_1[A_index_1] = Csum + Aout_1 * Again_1;
   	      A_index_1++;
   	      if (A_index_1 >= Adelay_1) { A_index_1 = 0; }

   	      // All-pass Filter 2:
   	      Aout_2 = Abuff_2[A_index_2] - Aout_1 * Again_2;
   	      Abuff_2[A_index_2] = Aout_1 + Aout_2 * Again_2;
   	      A_index_2++;
   	      if (A_index_2 >= Adelay_2) { A_index_2 = 0; }

   	      // All-pass Filter 3:
   	      Aout_3 = Abuff_3[A_index_3] - Aout_2 * Again_3;
   	      Abuff_3[A_index_3] = Aout_2 + Aout_3 * Again_3;
   	      A_index_3++;
   	      if (A_index_3 >= Adelay_3) { A_index_3 = 0; }
}

void HAL_TIM_PeriodElapsedCallback(TIM_HandleTypeDef *htim)
{

    if (htim->Instance == TIM6)
    {

    	readEncoders();

    	buttonDebouncer();

    	switch (selected_filter)
    	    		{
    	    		case 0:
    	    			LPF();
    	    		case 1:
    	    			Notch();
    	    		case 2:
    	    			PEAK();
    	    		case 3:
    	    			HPF();
    	    		}

     }

   //sprintf(message, "%d.%02d ", (int)filter_f0[filter_count], (int)(filter_f0[filter_count] * 100) % 100);
   //HAL_UART_Transmit_IT(&huart3, (uint8_t *)message, strlen(message));
    //HAL_GPIO_WritePin(GPIOB, LD1_Pin, GPIO_PIN_RESET);
    //sprintf(message, "%lu ", encoders[i].cnt_value); //encoders[i].cnt_value);  // Convert integer to string
    //HAL_UART_Transmit_IT(&huart3, (uint8_t *)message, 4);

}

void processData(){

	// Read Data In
	//HAL_GPIO_WritePin(GPIOB, LD1_Pin, GPIO_PIN_SET);

	// Convert to 2's Comp * 2^7
	leftIn0 	= (int16_t) ((inBufPtr[0] >> 8) & 0x0000FFFF);
	rightIn0 	= (int16_t) ((inBufPtr[1] >> 8) & 0x0000FFFF);

	// Sum to mono
	lSample = (int32_t)leftIn0 >> 1;
	rSample = (int32_t)leftIn0 >> 1;

	int16_t monoSample = lSample + rSample;

	x[2] = x[1];
	x[1] = x[0];
	x[0] = monoSample;

	if(wet < 0.01){
		FilterToggle();
		outputBuf[2] = outputBuf[1];
		outputBuf[1] = outputBuf[0];
		outputBuf[0] = z[0];

	}
	else {
		reverb();
		outputBuf[2] = outputBuf[1];
		outputBuf[1] = outputBuf[0];
	    outputBuf[0] = x[0] * (1.0 - wet) + Aout_3 * wet;
	}

	outBufPtr[0] = (uint32_t)(outputBuf[0] << 8) & 0x00FFFF00;
	outBufPtr[1] = (uint32_t)(outputBuf[0] << 8) & 0x00FFFF00;

	//HAL_GPIO_WritePin(GPIOB, LD1_Pin, GPIO_PIN_RESET);

}

// SAI TX and RX Are Synchronized, only use the RX callback to process Data

void HAL_SAI_RxHalfCpltCallback(SAI_HandleTypeDef *hsai) {  	// First Half of Data is ready for processing
    // Handle DAC data refill or processing
	//HAL_GPIO_WritePin(GPIOB, LD1_Pin, GPIO_PIN_SET);
	//HAL_GPIO_WritePin(GPIOB, GPIO_PIN_0, GPIO_PIN_SET);  // Turn on PB0 LED

	inBufPtr 			= &adcData[0];
	outBufPtr			= &dacData[0];
	processData();

	//HAL_GPIO_WritePin(GPIOB, LD1_Pin, GPIO_PIN_RESET);
}

void HAL_SAI_RxCpltCallback(SAI_HandleTypeDef *hsai) {			//Second Half of Data is ready for processing
	// Handle DAC data refill or processing
	//HAL_GPIO_WritePin(GPIOG, LD4_Pin, GPIO_PIN_SET);
	//HAL_GPIO_WritePin(GPIOA, GPIO_PIN_5, GPIO_PIN_SET);  // Turn on PA5 LED

	inBufPtr 			= &adcData[BUFFER_SIZE/2];
	outBufPtr			= &dacData[BUFFER_SIZE/2];

	processData();

	//HAL_GPIO_WritePin(GPIOG, LD4_Pin, GPIO_PIN_RESET);
}

// ADC1 interrupt handler

/* USER CODE END PV */

void SystemClock_Config(void);
void PeriphCommonClock_Config(void);
static void MX_GPIO_Init(void);
static void MX_DMA_Init(void);
static void MX_TIM8_Init(void);
static void MX_TIM6_Init(void);
static void MX_USART3_UART_Init(void);
static void MX_SAI1_Init(void);

int main(void)
{

  /* MCU Configuration--------------------------------------------------------*/

  /* Reset of all peripherals, Initializes the Flash interface and the Systick. */
  HAL_Init();

  /* Configure the system clock */
  SystemClock_Config();

  /* Configure the peripherals common clocks */
  PeriphCommonClock_Config();

  /* USER CODE BEGIN SysInit */

 	   Delay();
  /* USER CODE END SysInit */

  /* Initialize all configured peripherals */
  MX_GPIO_Init();
  MX_DMA_Init();
  MX_TIM8_Init();
  MX_TIM6_Init();
  MX_USART3_UART_Init();
  MX_SAI1_Init();
  /* USER CODE BEGIN 2 */
  //HAL_ADC_Start_IT(&hadc1);
  HAL_TIM_Base_Start(&htim8);

  HAL_TIM_Base_Start_IT(&htim6);

 // GPIOB->MODER &= ~(0x3 << (0 * 2)); // Clear mode for PB0
 // GPIOB->MODER |= (0x1 << (0 * 2));  // Set PB0 to output mode (01)

  //HAL_DAC_Start(&hdac, DAC_CHANNEL_1);

  HAL_SAI_Transmit_DMA(&hsai_BlockB1, (uint8_t*) dacData, BUFFER_SIZE);
  HAL_SAI_Receive_DMA(&hsai_BlockA1, (uint8_t*) adcData, BUFFER_SIZE);

  //dac_voltage = dac_result /convert;
  /* USER CODE END 2 */

  /* Infinite loop */
  while (1)
  {

  }
}

void SystemClock_Config(void)
{
  RCC_OscInitTypeDef RCC_OscInitStruct = {0};
  RCC_ClkInitTypeDef RCC_ClkInitStruct = {0};

  /** Configure LSE Drive Capability
  */
  HAL_PWR_EnableBkUpAccess();

  /** Configure the main internal regulator output voltage
  */
  __HAL_RCC_PWR_CLK_ENABLE();
  __HAL_PWR_VOLTAGESCALING_CONFIG(PWR_REGULATOR_VOLTAGE_SCALE1);

  /** Initializes the RCC Oscillators according to the specified parameters
  * in the RCC_OscInitTypeDef structure.
  */
  RCC_OscInitStruct.OscillatorType = RCC_OSCILLATORTYPE_HSE;
  RCC_OscInitStruct.HSEState = RCC_HSE_BYPASS;
  RCC_OscInitStruct.PLL.PLLState = RCC_PLL_ON;
  RCC_OscInitStruct.PLL.PLLSource = RCC_PLLSOURCE_HSE;
  RCC_OscInitStruct.PLL.PLLM = 4;
  RCC_OscInitStruct.PLL.PLLN = 216;
  RCC_OscInitStruct.PLL.PLLP = RCC_PLLP_DIV2;
  RCC_OscInitStruct.PLL.PLLQ = 9;
  RCC_OscInitStruct.PLL.PLLR = 2;
  if (HAL_RCC_OscConfig(&RCC_OscInitStruct) != HAL_OK)
  {
    Error_Handler();
  }

  /** Activate the Over-Drive mode
  */
  if (HAL_PWREx_EnableOverDrive() != HAL_OK)
  {
    Error_Handler();
  }

  /** Initializes the CPU, AHB and APB buses clocks
  */
  RCC_ClkInitStruct.ClockType = RCC_CLOCKTYPE_HCLK|RCC_CLOCKTYPE_SYSCLK
                              |RCC_CLOCKTYPE_PCLK1|RCC_CLOCKTYPE_PCLK2;
  RCC_ClkInitStruct.SYSCLKSource = RCC_SYSCLKSOURCE_PLLCLK;
  RCC_ClkInitStruct.AHBCLKDivider = RCC_SYSCLK_DIV1;
  RCC_ClkInitStruct.APB1CLKDivider = RCC_HCLK_DIV4;
  RCC_ClkInitStruct.APB2CLKDivider = RCC_HCLK_DIV2;

  if (HAL_RCC_ClockConfig(&RCC_ClkInitStruct, FLASH_LATENCY_7) != HAL_OK)
  {
    Error_Handler();
  }
}

void PeriphCommonClock_Config(void)
{
  RCC_PeriphCLKInitTypeDef PeriphClkInitStruct = {0};

  /** Initializes the peripherals clock
  */
  PeriphClkInitStruct.PeriphClockSelection = RCC_PERIPHCLK_SAI1;
  PeriphClkInitStruct.PLLI2S.PLLI2SN = 96;
  PeriphClkInitStruct.PLLI2S.PLLI2SP = RCC_PLLP_DIV2;
  PeriphClkInitStruct.PLLI2S.PLLI2SR = 2;
  PeriphClkInitStruct.PLLI2S.PLLI2SQ = 2;
  PeriphClkInitStruct.PLLI2SDivQ = 1;
  PeriphClkInitStruct.Sai1ClockSelection = RCC_SAI1CLKSOURCE_PLLI2S;
  if (HAL_RCCEx_PeriphCLKConfig(&PeriphClkInitStruct) != HAL_OK)
  {
    Error_Handler();
  }
}

static void MX_SAI1_Init(void)
{

  hsai_BlockA1.Instance = SAI1_Block_A;
  hsai_BlockA1.Init.AudioMode = SAI_MODEMASTER_RX;
  hsai_BlockA1.Init.Synchro = SAI_ASYNCHRONOUS;
  hsai_BlockA1.Init.OutputDrive = SAI_OUTPUTDRIVE_DISABLE;
  hsai_BlockA1.Init.NoDivider = SAI_MASTERDIVIDER_ENABLE;
  hsai_BlockA1.Init.FIFOThreshold = SAI_FIFOTHRESHOLD_EMPTY;
  hsai_BlockA1.Init.AudioFrequency = SAI_AUDIO_FREQUENCY_48K;
  hsai_BlockA1.Init.SynchroExt = SAI_SYNCEXT_DISABLE;
  hsai_BlockA1.Init.MonoStereoMode = SAI_STEREOMODE;
  hsai_BlockA1.Init.CompandingMode = SAI_NOCOMPANDING;
  if (HAL_SAI_InitProtocol(&hsai_BlockA1, SAI_I2S_STANDARD, SAI_PROTOCOL_DATASIZE_24BIT, 2) != HAL_OK)
  {
    Error_Handler();
  }
  hsai_BlockB1.Instance = SAI1_Block_B;
  hsai_BlockB1.Init.AudioMode = SAI_MODESLAVE_TX;
  hsai_BlockB1.Init.Synchro = SAI_SYNCHRONOUS;
  hsai_BlockB1.Init.OutputDrive = SAI_OUTPUTDRIVE_DISABLE;
  hsai_BlockB1.Init.FIFOThreshold = SAI_FIFOTHRESHOLD_EMPTY;
  hsai_BlockB1.Init.SynchroExt = SAI_SYNCEXT_DISABLE;
  hsai_BlockB1.Init.MonoStereoMode = SAI_STEREOMODE;
  hsai_BlockB1.Init.CompandingMode = SAI_NOCOMPANDING;
  hsai_BlockB1.Init.TriState = SAI_OUTPUT_NOTRELEASED;
  if (HAL_SAI_InitProtocol(&hsai_BlockB1, SAI_I2S_STANDARD, SAI_PROTOCOL_DATASIZE_24BIT, 2) != HAL_OK)
  {
    Error_Handler();
  }

}

static void MX_TIM6_Init(void)
{

  TIM_MasterConfigTypeDef sMasterConfig = {0};

  htim6.Instance = TIM6;
  htim6.Init.Prescaler = 10800 - 1;
  htim6.Init.CounterMode = TIM_COUNTERMODE_UP;
  htim6.Init.Period = 10-1;
  htim6.Init.AutoReloadPreload = TIM_AUTORELOAD_PRELOAD_DISABLE;
  if (HAL_TIM_Base_Init(&htim6) != HAL_OK)
  {
    Error_Handler();
  }
  sMasterConfig.MasterOutputTrigger = TIM_TRGO_RESET;
  sMasterConfig.MasterSlaveMode = TIM_MASTERSLAVEMODE_DISABLE;
  if (HAL_TIMEx_MasterConfigSynchronization(&htim6, &sMasterConfig) != HAL_OK)
  {
    Error_Handler();
  }

}

static void MX_TIM8_Init(void)
{

  TIM_ClockConfigTypeDef sClockSourceConfig = {0};
  TIM_MasterConfigTypeDef sMasterConfig = {0};

  htim8.Instance = TIM8;
  htim8.Init.Prescaler = 100-1;
  htim8.Init.CounterMode = TIM_COUNTERMODE_UP;
  htim8.Init.Period = 45-1;
  htim8.Init.ClockDivision = TIM_CLOCKDIVISION_DIV1;
  htim8.Init.RepetitionCounter = 0;
  htim8.Init.AutoReloadPreload = TIM_AUTORELOAD_PRELOAD_DISABLE;
  if (HAL_TIM_Base_Init(&htim8) != HAL_OK)
  {
    Error_Handler();
  }
  sClockSourceConfig.ClockSource = TIM_CLOCKSOURCE_INTERNAL;
  if (HAL_TIM_ConfigClockSource(&htim8, &sClockSourceConfig) != HAL_OK)
  {
    Error_Handler();
  }
  sMasterConfig.MasterOutputTrigger = TIM_TRGO_UPDATE;
  sMasterConfig.MasterOutputTrigger2 = TIM_TRGO2_RESET;
  sMasterConfig.MasterSlaveMode = TIM_MASTERSLAVEMODE_DISABLE;
  if (HAL_TIMEx_MasterConfigSynchronization(&htim8, &sMasterConfig) != HAL_OK)
  {
    Error_Handler();
  }

}

static void MX_USART3_UART_Init(void)
{

  huart3.Instance = USART3;
  huart3.Init.BaudRate = 115200;
  huart3.Init.WordLength = UART_WORDLENGTH_8B;
  huart3.Init.StopBits = UART_STOPBITS_1;
  huart3.Init.Parity = UART_PARITY_NONE;
  huart3.Init.Mode = UART_MODE_TX_RX;
  huart3.Init.HwFlowCtl = UART_HWCONTROL_NONE;
  huart3.Init.OverSampling = UART_OVERSAMPLING_16;
  huart3.Init.OneBitSampling = UART_ONE_BIT_SAMPLE_DISABLE;
  huart3.AdvancedInit.AdvFeatureInit = UART_ADVFEATURE_NO_INIT;
  if (HAL_UART_Init(&huart3) != HAL_OK)
  {
    Error_Handler();
  }

}

static void MX_DMA_Init(void)
{

  /* DMA controller clock enable */
  __HAL_RCC_DMA2_CLK_ENABLE();

  /* DMA interrupt init */
  /* DMA2_Stream0_IRQn interrupt configuration */
  HAL_NVIC_SetPriority(DMA2_Stream0_IRQn, 0, 0);
  HAL_NVIC_EnableIRQ(DMA2_Stream0_IRQn);
  /* DMA2_Stream1_IRQn interrupt configuration */
  HAL_NVIC_SetPriority(DMA2_Stream1_IRQn, 0, 0);
  HAL_NVIC_EnableIRQ(DMA2_Stream1_IRQn);

}

static void MX_GPIO_Init(void)
{
  GPIO_InitTypeDef GPIO_InitStruct = {0};

  /* GPIO Ports Clock Enable */
  __HAL_RCC_GPIOE_CLK_ENABLE();
  __HAL_RCC_GPIOC_CLK_ENABLE();
  __HAL_RCC_GPIOF_CLK_ENABLE();
  __HAL_RCC_GPIOH_CLK_ENABLE();
  __HAL_RCC_GPIOB_CLK_ENABLE();
  __HAL_RCC_GPIOG_CLK_ENABLE();
  __HAL_RCC_GPIOD_CLK_ENABLE();
  __HAL_RCC_GPIOA_CLK_ENABLE();

  /*Configure GPIO pin Output Level */
  HAL_GPIO_WritePin(LD5_GPIO_Port, LD5_Pin, GPIO_PIN_RESET);

  /*Configure GPIO pin Output Level */
  HAL_GPIO_WritePin(GPIOB, LD1_Pin|GPIO_PIN_12|GPIO_PIN_13|LD3_Pin
                          |GPIO_PIN_5|LD2_Pin, GPIO_PIN_RESET);

  /*Configure GPIO pin Output Level */
  HAL_GPIO_WritePin(GPIOG, LD4_Pin|USB_PowerSwitchOn_Pin, GPIO_PIN_RESET);

  /*Configure GPIO pin Output Level */
  HAL_GPIO_WritePin(GPIOE, GPIO_PIN_0, GPIO_PIN_RESET);

  /*Configure GPIO pins : PC13 PC7 */
  GPIO_InitStruct.Pin = GPIO_PIN_13|GPIO_PIN_7;
  GPIO_InitStruct.Mode = GPIO_MODE_INPUT;
  GPIO_InitStruct.Pull = GPIO_NOPULL;
  HAL_GPIO_Init(GPIOC, &GPIO_InitStruct);

  /*Configure GPIO pin : LD5_Pin */
  GPIO_InitStruct.Pin = LD5_Pin;
  GPIO_InitStruct.Mode = GPIO_MODE_OUTPUT_PP;
  GPIO_InitStruct.Pull = GPIO_NOPULL;
  GPIO_InitStruct.Speed = GPIO_SPEED_FREQ_LOW;
  HAL_GPIO_Init(LD5_GPIO_Port, &GPIO_InitStruct);

  /*Configure GPIO pins : LD1_Pin PB12 PB13 LD3_Pin
                           PB5 LD2_Pin */
  GPIO_InitStruct.Pin = LD1_Pin|GPIO_PIN_12|GPIO_PIN_13|LD3_Pin
                          |GPIO_PIN_5|LD2_Pin;
  GPIO_InitStruct.Mode = GPIO_MODE_OUTPUT_PP;
  GPIO_InitStruct.Pull = GPIO_NOPULL;
  GPIO_InitStruct.Speed = GPIO_SPEED_FREQ_LOW;
  HAL_GPIO_Init(GPIOB, &GPIO_InitStruct);

  /*Configure GPIO pins : LD4_Pin USB_PowerSwitchOn_Pin */
  GPIO_InitStruct.Pin = LD4_Pin|USB_PowerSwitchOn_Pin;
  GPIO_InitStruct.Mode = GPIO_MODE_OUTPUT_PP;
  GPIO_InitStruct.Pull = GPIO_NOPULL;
  GPIO_InitStruct.Speed = GPIO_SPEED_FREQ_LOW;
  HAL_GPIO_Init(GPIOG, &GPIO_InitStruct);

  /*Configure GPIO pins : PE9 PE11 */
  GPIO_InitStruct.Pin = GPIO_PIN_9|GPIO_PIN_11;
  GPIO_InitStruct.Mode = GPIO_MODE_INPUT;
  GPIO_InitStruct.Pull = GPIO_PULLUP;
  HAL_GPIO_Init(GPIOE, &GPIO_InitStruct);

  /*Configure GPIO pins : PD12 PD13 */
  GPIO_InitStruct.Pin = GPIO_PIN_12|GPIO_PIN_13;
  GPIO_InitStruct.Mode = GPIO_MODE_INPUT;
  GPIO_InitStruct.Pull = GPIO_PULLUP;
  HAL_GPIO_Init(GPIOD, &GPIO_InitStruct);

  /*Configure GPIO pin : USB_OverCurrent_Pin */
  GPIO_InitStruct.Pin = USB_OverCurrent_Pin;
  GPIO_InitStruct.Mode = GPIO_MODE_INPUT;
  GPIO_InitStruct.Pull = GPIO_NOPULL;
  HAL_GPIO_Init(USB_OverCurrent_GPIO_Port, &GPIO_InitStruct);

  /*Configure GPIO pin : PC6 */
  GPIO_InitStruct.Pin = GPIO_PIN_6;
  GPIO_InitStruct.Mode = GPIO_MODE_INPUT;
  GPIO_InitStruct.Pull = GPIO_PULLUP;
  HAL_GPIO_Init(GPIOC, &GPIO_InitStruct);

  /*Configure GPIO pins : USB_SOF_Pin USB_DM_Pin USB_DP_Pin */
  GPIO_InitStruct.Pin = USB_SOF_Pin|USB_DM_Pin|USB_DP_Pin;
  GPIO_InitStruct.Mode = GPIO_MODE_AF_PP;
  GPIO_InitStruct.Pull = GPIO_NOPULL;
  GPIO_InitStruct.Speed = GPIO_SPEED_FREQ_VERY_HIGH;
  GPIO_InitStruct.Alternate = GPIO_AF10_OTG_FS;
  HAL_GPIO_Init(GPIOA, &GPIO_InitStruct);

  /*Configure GPIO pin : USB_VBUS_Pin */
  GPIO_InitStruct.Pin = USB_VBUS_Pin;
  GPIO_InitStruct.Mode = GPIO_MODE_INPUT;
  GPIO_InitStruct.Pull = GPIO_NOPULL;
  HAL_GPIO_Init(USB_VBUS_GPIO_Port, &GPIO_InitStruct);

  /*Configure GPIO pin : PA15 */
  GPIO_InitStruct.Pin = GPIO_PIN_15;
  GPIO_InitStruct.Mode = GPIO_MODE_INPUT;
  GPIO_InitStruct.Pull = GPIO_PULLUP;
  HAL_GPIO_Init(GPIOA, &GPIO_InitStruct);

  /*Configure GPIO pins : PD0 PD1 */
  GPIO_InitStruct.Pin = GPIO_PIN_0|GPIO_PIN_1;
  GPIO_InitStruct.Mode = GPIO_MODE_INPUT;
  GPIO_InitStruct.Pull = GPIO_NOPULL;
  HAL_GPIO_Init(GPIOD, &GPIO_InitStruct);

  /*Configure GPIO pin : PB3 */
  GPIO_InitStruct.Pin = GPIO_PIN_3;
  GPIO_InitStruct.Mode = GPIO_MODE_INPUT;
  GPIO_InitStruct.Pull = GPIO_NOPULL;
  HAL_GPIO_Init(GPIOB, &GPIO_InitStruct);

  /*Configure GPIO pin : PE0 */
  GPIO_InitStruct.Pin = GPIO_PIN_0;
  GPIO_InitStruct.Mode = GPIO_MODE_OUTPUT_PP;
  GPIO_InitStruct.Pull = GPIO_NOPULL;
  GPIO_InitStruct.Speed = GPIO_SPEED_FREQ_LOW;
  HAL_GPIO_Init(GPIOE, &GPIO_InitStruct);

  /**/
  HAL_I2CEx_EnableFastModePlus(SYSCFG_PMC_I2C_PB7_FMP);

}

/* USER CODE BEGIN 4 */

// Global ADC Callback

/* USER CODE END 4 */

void Error_Handler(void)
{
  __disable_irq();
  while (1)
  {
  }
}
